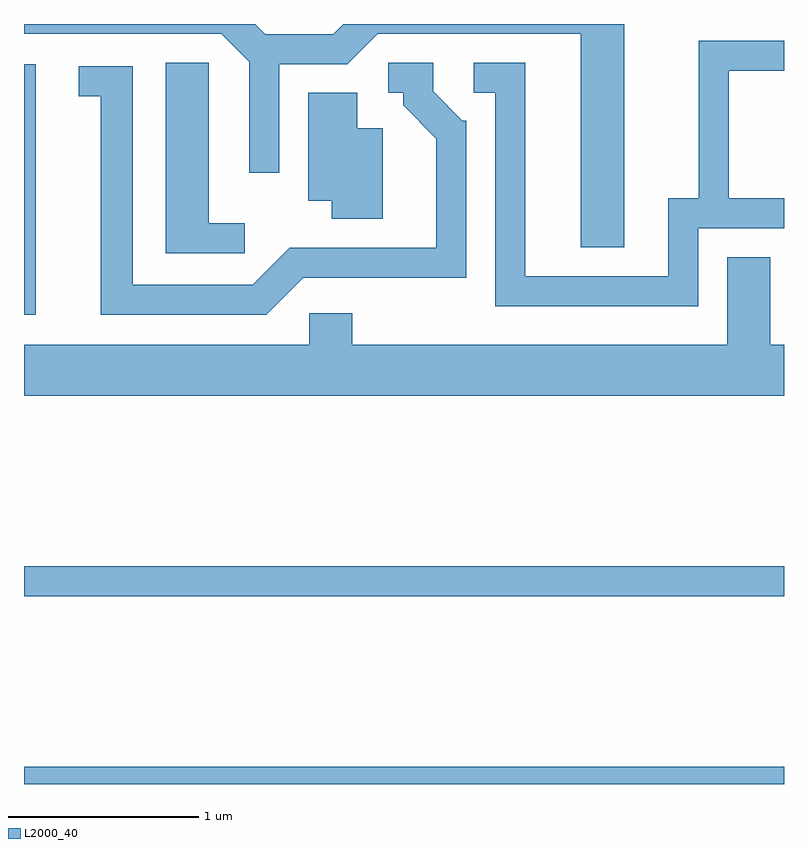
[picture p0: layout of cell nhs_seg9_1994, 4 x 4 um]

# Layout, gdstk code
import gdstk
lib = gdstk.Library(unit=1e-6, precision=1e-09)
def R(c, l, rs):  # rectangles x0, y0, x1, y1
    for r in rs: c.add(gdstk.rectangle(r[:2], r[2:], *l))
def P(c, l, *ps):  # polygons
    for p in ps: c.add(gdstk.Polygon(p, *l))
L2000_40 = (2000, 40)

nhs_seg9_1994 = lib.new_cell('nhs_seg9_1994')
R(nhs_seg9_1994, L2000_40, [(243.611,1996.432,247.611,1996.524), (243.611,1997.421,247.611,1997.579), (243.611,1998.901,243.674,2000.219)])
P(nhs_seg9_1994, L2000_40, [(246.769,2000.432),(245.292,2000.432),(245.239,2000.379),(244.882,2000.379),(244.829,2000.432),(243.611,2000.432),(243.611,2000.381),(244.649,2000.381),(244.796,2000.234),(244.796,1999.648),(244.954,1999.648),(244.954,2000.221),(245.312,2000.221),(245.472,2000.381),(246.541,2000.381),(246.541,1999.256),(246.769,1999.256)],
  [(247.159,1999.356),(247.611,1999.356),(247.611,1999.514),(247.319,1999.514),(247.319,2000.186),(247.611,2000.186),(247.611,2000.344),(247.161,2000.344),(247.161,1999.514),(247.001,1999.514),(247.001,1999.104),(246.249,1999.104),(246.249,2000.229),(245.978,2000.229),(245.978,2000.071),(246.091,2000.071),(246.091,1998.946),(247.159,1998.946)],
  [(244.773,1999.384),(244.584,1999.384),(244.584,2000.229),(244.356,2000.229),(244.356,1999.226),(244.773,1999.226)],
  [(245.082,1999.096),(245.939,1999.096),(245.939,1999.924),(245.917,1999.924),(245.764,2000.077),(245.764,2000.229),(245.528,2000.229),(245.528,2000.071),(245.606,2000.071),(245.606,2000.004),(245.781,1999.829),(245.781,1999.254),(245.009,1999.254),(244.814,1999.059),(244.184,1999.059),(244.184,2000.209),(243.898,2000.209),(243.898,2000.051),(244.016,2000.051),(244.016,1998.901),(244.887,1998.901)],
  [(245.499,1999.884),(245.364,1999.884),(245.364,2000.069),(245.106,2000.069),(245.106,1999.501),(245.231,1999.501),(245.231,1999.406),(245.499,1999.406)],
  [(247.611,1998.744),(247.539,1998.744),(247.539,1999.204),(247.311,1999.204),(247.311,1998.744),(245.339,1998.744),(245.339,1998.909),(245.111,1998.909),(245.111,1998.744),(243.611,1998.744),(243.611,1998.476),(247.611,1998.476)])

lib.write_gds('nhs_seg9_1994.gds')
